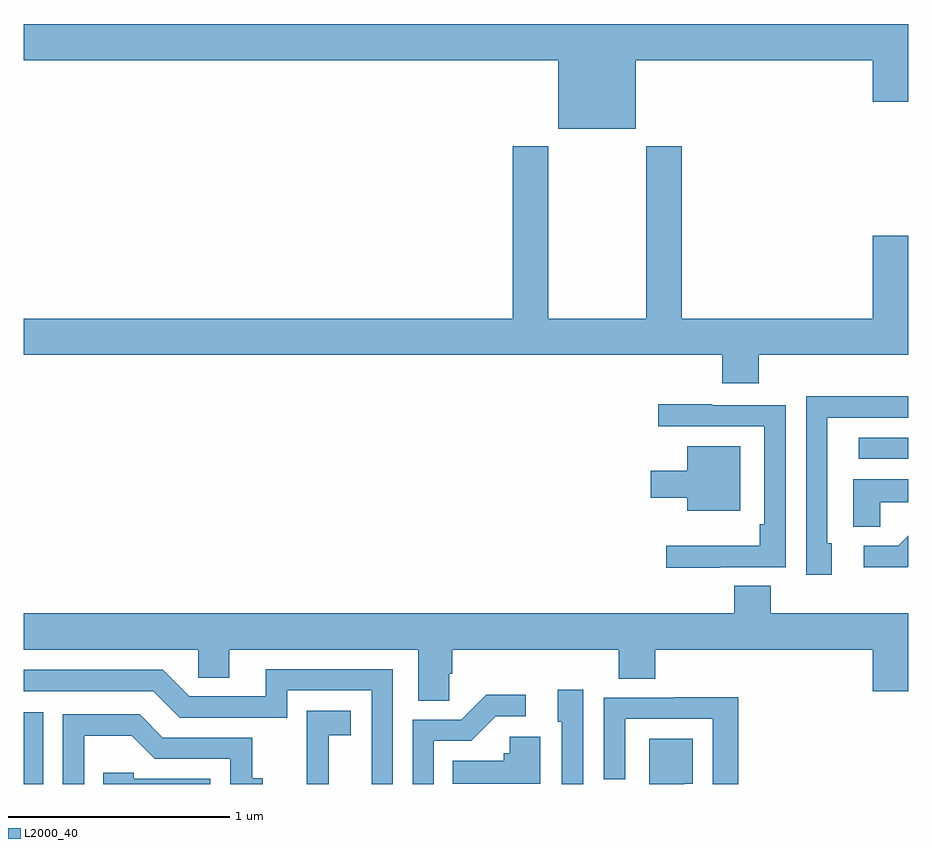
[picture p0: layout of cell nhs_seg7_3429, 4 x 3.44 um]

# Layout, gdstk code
import gdstk
lib = gdstk.Library(unit=1e-6, precision=1e-09)
def R(c, l, rs):  # rectangles x0, y0, x1, y1
    for r in rs: c.add(gdstk.rectangle(r[:2], r[2:], *l))
def P(c, l, *ps):  # polygons
    for p in ps: c.add(gdstk.Polygon(p, *l))
L2000_40 = (2000, 40)

nhs_seg7_3429 = lib.new_cell('nhs_seg7_3429')
R(nhs_seg7_3429, L2000_40, [(329,1008,329.088,1008.325), (332.775,1009.47,333,1009.566)])
P(nhs_seg7_3429, L2000_40, [(331.768,1011.272),(332.84,1011.272),(332.84,1011.084),(333,1011.084),(333,1011.436),(329,1011.436),(329,1011.272),(331.418,1011.272),(331.418,1010.963),(331.768,1010.963)],
  [(332.324,1009.94),(333,1009.94),(333,1010.479),(332.84,1010.479),(332.84,1010.104),(331.976,1010.104),(331.976,1010.884),(331.816,1010.884),(331.816,1010.104),(331.371,1010.104),(331.371,1010.884),(331.211,1010.884),(331.211,1010.104),(329,1010.104),(329,1009.94),(332.159,1009.94),(332.159,1009.812),(332.324,1009.812)],
  [(332.653,1009.089),(332.634,1009.089),(332.634,1009.656),(333,1009.656),(333,1009.752),(332.999,1009.752),(332.999,1009.754),(332.538,1009.754),(332.538,1008.945),(332.653,1008.945)],
  [(332.149,1008.981),(332.445,1008.981),(332.445,1009.713),(332.113,1009.713),(332.113,1009.717),(331.869,1009.717),(331.869,1009.617),(332.349,1009.617),(332.349,1009.174),(332.329,1009.174),(332.329,1009.078),(331.905,1009.078),(331.905,1008.977),(332.149,1008.977)],
  [(332.239,1009.528),(332,1009.528),(332,1009.417),(331.836,1009.417),(331.836,1009.295),(332,1009.295),(332,1009.235),(332.239,1009.235)],
  [(332.872,1009.274),(333,1009.274),(333,1009.378),(332.75,1009.378),(332.75,1009.162),(332.872,1009.162)],
  [(333,1008.982),(333,1009.122),(332.955,1009.077),(332.799,1009.077),(332.799,1008.98),(332.998,1008.98)],
  [(330.924,1008.499),(330.938,1008.499),(330.938,1008.608),(331.691,1008.608),(331.691,1008.475),(331.856,1008.475),(331.856,1008.608),(332.84,1008.608),(332.84,1008.42),(333,1008.42),(333,1008.772),(332.378,1008.772),(332.378,1008.896),(332.213,1008.896),(332.213,1008.772),(329,1008.772),(329,1008.608),(329.79,1008.608),(329.79,1008.481),(329.929,1008.481),(329.929,1008.608),(330.785,1008.608),(330.785,1008.376),(330.924,1008.376)],
  [(330.669,1008.519),(330.095,1008.519),(330.095,1008.396),(329.748,1008.396),(329.628,1008.516),(329,1008.516),(329,1008.42),(329.586,1008.42),(329.706,1008.3),(330.192,1008.3),(330.192,1008.423),(330.573,1008.423),(330.573,1008),(330.669,1008)],
  [(331.53,1008.427),(331.415,1008.427),(331.415,1008.282),(331.434,1008.282),(331.434,1008),(331.53,1008)],
  [(330.855,1008.195),(331.024,1008.195),(331.135,1008.306),(331.27,1008.306),(331.27,1008.404),(331.091,1008.404),(330.978,1008.291),(330.759,1008.291),(330.759,1008),(330.855,1008)],
  [(332.231,1008.392),(331.939,1008.392),(331.939,1008.39),(331.623,1008.39),(331.623,1008.021),(331.719,1008.021),(331.719,1008.294),(332.115,1008.294),(332.115,1008),(332.231,1008)],
  [(330.38,1008.221),(330.478,1008.221),(330.478,1008.331),(330.28,1008.331),(330.28,1008.125),(330.281,1008.125),(330.281,1008),(330.38,1008)],
  [(329.274,1008.218),(329.488,1008.218),(329.592,1008.114),(329.934,1008.114),(329.934,1008),(330.082,1008),(330.082,1008.025),(330.033,1008.025),(330.033,1008.21),(329.629,1008.21),(329.524,1008.315),(329.178,1008.315),(329.178,1008),(329.274,1008)],
  [(331.336,1008.214),(331.197,1008.214),(331.197,1008.138),(331.171,1008.138),(331.171,1008.106),(330.94,1008.106),(330.94,1008.002),(331.336,1008.002)],
  [(331.987,1008.002),(332.026,1008.002),(332.026,1008.205),(331.829,1008.205),(331.829,1008),(331.987,1008)],
  [(329.844,1008.024),(329.499,1008.024),(329.499,1008.051),(329.359,1008.051),(329.359,1008),(329.844,1008)])

lib.write_gds('nhs_seg7_3429.gds')
